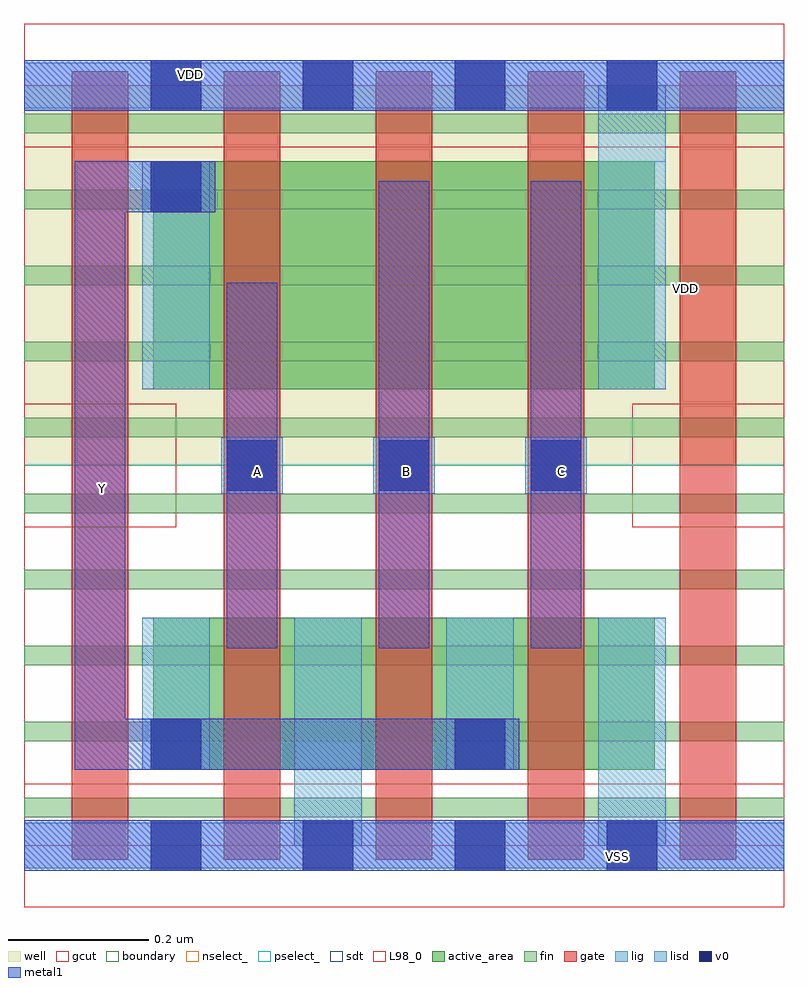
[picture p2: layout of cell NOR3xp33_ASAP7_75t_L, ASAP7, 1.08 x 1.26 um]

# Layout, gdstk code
import gdstk
lib = gdstk.Library(unit=1e-6, precision=2.5e-10)
def R(c, l, rs):  # rectangles x0, y0, x1, y1
    for r in rs: c.add(gdstk.rectangle(r[:2], r[2:], *l))
def A(c, l, x, y, w, h, nx, ny, dx, dy):  # array of equal rectangles
    R(c, l, [(x+i*dx, y+j*dy, x+i*dx+w, y+j*dy+h) for i in range(nx) for j in range(ny)])
def P(c, l, *ps):  # polygons
    for p in ps: c.add(gdstk.Polygon(p, *l))
well = (1, 0)
fin = (2, 0)
gate = (7, 0)
gcut = (10, 0)
active_area = (11, 0)
nselect_ = (12, 0)
pselect_ = (13, 0)
lig = (16, 0)
lisd = (17, 0)
v0 = (18, 0)
metal1 = (19, 0)
sdt = (88, 0)
L98_0 = (98, 0)
boundary = (100, 0)

nor3xp33_asap7_75t_l = lib.new_cell('NOR3xp33_ASAP7_75t_L')
R(nor3xp33_asap7_75t_l, well, [(0,0.54,1.08,1.08)])
A(nor3xp33_asap7_75t_l, fin, 0, 0.04, 1.08, 0.028, 1, 10, 0, 0.108)
A(nor3xp33_asap7_75t_l, gate, 0.068, -0.02, 0.08, 1.12, 5, 1, 0.216, 0)
R(nor3xp33_asap7_75t_l, gcut, [(0,-0.088,1.08,0.088), (0,0.452,0.216,0.628), (0.864,0.452,1.08,0.628), (0,0.992,1.08,1.168)])
R(nor3xp33_asap7_75t_l, active_area, [(0.184,0.108,0.896,0.324), (0.184,0.648,0.896,0.972)])
R(nor3xp33_asap7_75t_l, nselect_, [(0,0,1.08,0.54)])
R(nor3xp33_asap7_75t_l, pselect_, [(0,0.54,1.08,1.08)])
A(nor3xp33_asap7_75t_l, lig, 0.28, 0.5, 0.088, 0.08, 3, 1, 0.216, 0)
R(nor3xp33_asap7_75t_l, lig, [(0,-0.032,1.08,0.032), (0,1.048,1.08,1.112)])
R(nor3xp33_asap7_75t_l, lisd, [(0.384,0,0.48,0.324), (0.816,0,0.912,0.324), (0.168,0.108,0.264,0.324), (0.6,0.108,0.696,0.324), (0.168,0.648,0.264,0.972), (0.816,0.648,0.912,1.08)])
A(nor3xp33_asap7_75t_l, v0, 0.18, -0.036, 0.072, 0.072, 4, 2, 0.216, 1.08)
A(nor3xp33_asap7_75t_l, v0, 0.288, 0.504, 0.072, 0.072, 3, 1, 0.216, 0)
R(nor3xp33_asap7_75t_l, v0, [(0.18,0.108,0.252,0.18), (0.612,0.108,0.684,0.18), (0.18,0.9,0.252,0.972)])
R(nor3xp33_asap7_75t_l, metal1, [(0,-0.036,1.08,0.036), (0.288,0.28,0.36,0.8), (0.504,0.28,0.576,0.944), (0.72,0.28,0.792,0.944), (0,1.044,1.08,1.116)])
P(nor3xp33_asap7_75t_l, metal1, [(0.704,0.108),(0.072,0.108),(0.072,0.972),(0.272,0.972),(0.272,0.9),(0.144,0.9),(0.144,0.18),(0.704,0.18)])
A(nor3xp33_asap7_75t_l, sdt, 0.168, 0.108, 0.096, 0.216, 4, 1, 0.216, 0)
R(nor3xp33_asap7_75t_l, sdt, [(0.168,0.648,0.264,0.972), (0.816,0.648,0.912,0.972)])
R(nor3xp33_asap7_75t_l, L98_0, [(0,0,1.08,1.08)])
R(nor3xp33_asap7_75t_l, boundary, [(0,0,1.08,1.08)])
nor3xp33_asap7_75t_l.add(gdstk.Label('VDD', (0.94,0.792), layer=1, texttype=251))
nor3xp33_asap7_75t_l.add(gdstk.Label('VDD', (0.236,1.096), layer=19, texttype=251))
nor3xp33_asap7_75t_l.add(gdstk.Label('VSS', (0.844,-0.016), layer=19, texttype=251))
nor3xp33_asap7_75t_l.add(gdstk.Label('Y', (0.112,0.508), layer=19, texttype=251))
nor3xp33_asap7_75t_l.add(gdstk.Label('C', (0.764,0.532), layer=19, texttype=251))
nor3xp33_asap7_75t_l.add(gdstk.Label('B', (0.544,0.532), layer=19, texttype=251))
nor3xp33_asap7_75t_l.add(gdstk.Label('A', (0.332,0.532), layer=19, texttype=251))
nor3xp33_asap7_75t_l.add(gdstk.Label('VSS', (0.584,-0.22), layer=3, texttype=251))

lib.write_gds('NOR3xp33_ASAP7_75t_L.gds')
